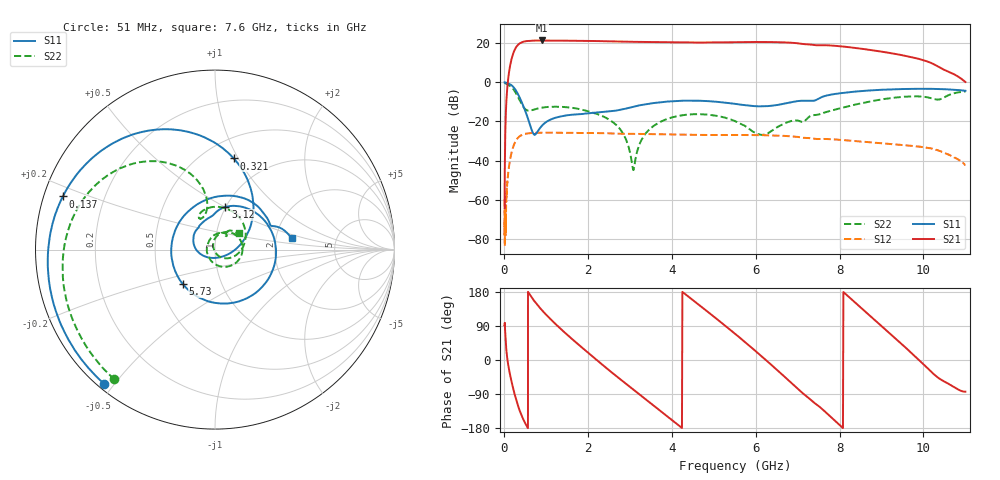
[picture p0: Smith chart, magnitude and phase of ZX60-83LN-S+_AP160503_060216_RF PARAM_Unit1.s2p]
!Mini-Circuits Lab.;
!S-parameters;
!Model:ZX60-83LN-S+, Unit1;
!Run:CE4530; Date Code:1622;
!Fixture: N/R, Temperature: 25°C;
!Connection: Port1 to Input, Port2 to Output;
!Tested with PNA-X Network Analyzer AG N5242A, S/N74314,Cal.Due:02/05/2017;
# MHZ S DB R 50
!Frequency  S11 dB  S11 DEG  S21 dB  S21 DEG  S12 dB  S12 DEG  S22 dB  S22 DEG
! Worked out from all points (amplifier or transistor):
!   1991 points, 10 MHz to 11 GHz, reference 50 ohm
!   highest |S21| = 21.4 dB at 894 MHz (marker M1)
!   |S21| within 3 dB of that: 299.6 MHz to 8.031 GHz (7.731 GHz wide, 186 % of centre)
!   unconditionally stable (mu >= 1): start of sweep to end of sweep
!   at 341 MHz: K = 1.19, MAG = 21.1 dB, |S12| = -28.1 dB
!   at 1.05 GHz: K = 1.09, MAG = 21.7 dB, |S12| = -25.7 dB
!   at 11 GHz: K = 25.83, MAG = 4.1 dB, |S12| = -42.2 dB
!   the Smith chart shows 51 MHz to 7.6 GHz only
!   S11 on the Smith chart (normalised r, x): 51 MHz: 0.02, -0.47; 137 MHz: 0.06, +0.17; 321 MHz: 0.69, +0.96; 3.12 GHz: 1.00, +0.50; 5.73 GHz: 0.65, -0.27; 7.6 GHz: 2.45, +0.38
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10  -0.03 -35.6  -64.34 90.4  -59.76 -46.3  -0.02 -35.6
51  -0.27 -129.5  -10.14 26.8  -59.63 -127.7  -0.78 -127.8
137  -0.93 160.8  8.02 -37.3  -39.98 158.2  -1.78 168.5
321  -5.71 78.4  18.96 -117.7  -28.53 75.3  -7.11 107.8
545  -17.13 9.7  21.11 -175.7  -26.14 19.0  -14.27 109.2
894  -22.30 -155.8  21.40 132.2  -25.75 -28.4  -12.95 108.7
1330  -17.51 155.3  21.33 84.0  -25.75 -69.6  -12.50 75.8
1850  -16.24 126.1  21.17 33.4  -25.88 -111.6  -13.95 33.3
2400  -15.01 103.2  21.01 -17.8  -25.99 -153.4  -17.82 -10.7
3120  -12.24 76.2  20.68 -81.4  -26.32 155.3  -40.52 146.5
3680  -10.27 41.5  20.53 -130.7  -26.51 115.5  -20.69 72.7
4500  -9.33 -17.1  20.34 158.1  -26.79 58.6  -16.29 13.3
5510  -11.00 -108.0  20.51 68.9  -26.90 -12.1  -19.83 -68.9
5730  -11.63 -133.2  20.57 48.6  -26.93 -28.2  -22.07 -95.2
6420  -11.84 131.9  20.56 -17.6  -27.15 -79.9  -24.25 119.0
6890  -9.97 70.0  20.19 -64.9  -27.64 -116.8  -19.53 61.8
7340  -9.44 24.5  19.22 -108.2  -28.68 -149.4  -16.92 46.8
7600  -7.30 8.3  18.99 -131.0  -28.90 -165.2  -15.69 35.3
8190  -5.12 -47.8  18.04 169.4  -29.66 151.8  -12.30 8.0
9170  -3.64 -135.0  15.10 72.8  -31.41 83.8  -8.18 -46.6
10160  -3.31 122.2  10.11 -28.3  -33.65 10.0  -7.96 -110.4
11000  -4.31 8.3  0.19 -83.6  -42.21 -37.0  -4.67 -145.0
